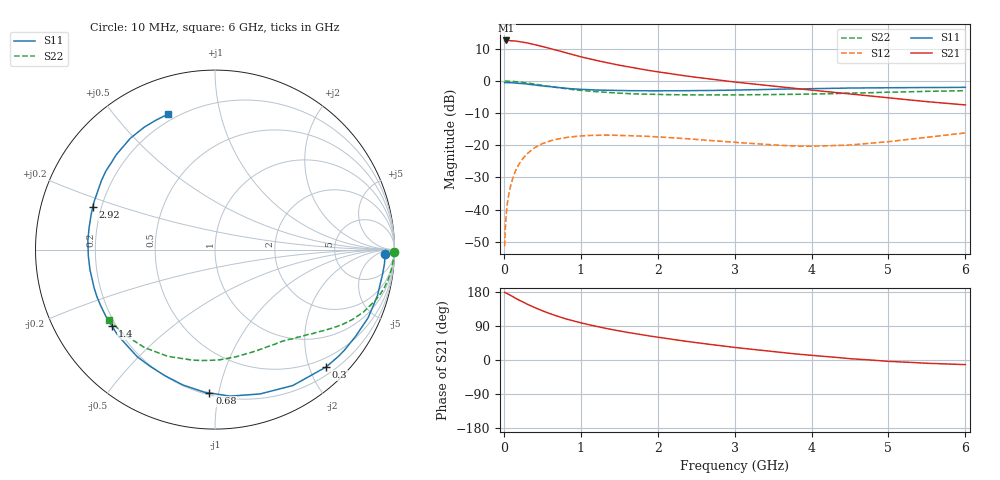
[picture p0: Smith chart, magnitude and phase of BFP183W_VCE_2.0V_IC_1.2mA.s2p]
! Infineon Technologies  Discrete & RF Semiconductors
! BFP183W
! VCE = 2.0 V,  IC =  1.2 mA
! Common Emitter S-Parameters:  Jan 2016
# GHz  S  MA  R  50
!  f  S11  S21  S12  S22
! GHz  MAG  ANG  MAG  ANG  MAG  ANG  MAG  ANG
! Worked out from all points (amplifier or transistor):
!   210 points, 10 MHz to 6 GHz, reference 50 ohm
!   highest |S21| = 12.6 dB at 30 MHz (marker M1)
!   |S21| within 3 dB of that: start of sweep to 682 MHz
!   unconditionally stable (mu >= 1): 2.607 GHz to end of sweep
!   at 185 MHz: K = 0.08, MSG = 19.4 dB, |S12| = -26.4 dB
!   at 1.52 GHz: K = 0.57, MSG = 10.9 dB, |S12| = -16.9 dB
!   at 6 GHz: K = 1.11, MAG = 2.4 dB, |S12| = -16.2 dB
!   S11 on the Smith chart (normalised r, x): 10 MHz: 29, -15; 300 MHz: 0.33, -2.28; 680 MHz: 0.21, -0.94; 1.4 GHz: 0.18, -0.32; 2.92 GHz: 0.17, +0.16; 6 GHz: 0.17, +0.70
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0.01  0.9472 -1.6  4.24 178.3  0.0027 88.3  0.9989 -0.7
0.02  0.9479 -3.3  4.277 178.0  0.0052 86.0  0.9953 -1.3
0.03  0.9471 -5.0  4.28 176.9  0.0081 88.9  0.9968 -1.9
0.065  0.9411 -10.6  4.256 173.0  0.0174 82.9  0.9933 -4.1
0.12  0.9358 -19.1  4.212 166.8  0.0317 77.9  0.9854 -7.6
0.2  0.9203 -31.8  4.118 157.8  0.0516 71.0  0.9678 -12.5
0.3  0.9004 -46.6  3.927 147.6  0.0735 62.2  0.9347 -17.9
0.4  0.8727 -60.2  3.698 138.4  0.0917 54.5  0.8972 -22.8
0.5  0.8424 -72.7  3.453 129.6  0.1062 47.6  0.8599 -26.9
0.68  0.7992 -92.2  3.034 116.7  0.1239 37.3  0.7975 -32.7
0.8  0.7753 -103.3  2.765 108.9  0.132 31.5  0.7607 -36.2
1.02  0.7418 -120.4  2.355 97.2  0.1403 23.0  0.7125 -41.3
1.2  0.7255 -132.6  2.095 88.8  0.1438 17.2  0.6839 -45.0
1.4  0.7152 -143.4  1.863 80.5  0.1441 12.4  0.6611 -48.7
1.6  0.7095 -153.8  1.68 73.0  0.1422 8.8  0.6407 -52.1
2.02  0.7056 -170.9  1.381 59.5  0.1348 3.1  0.6185 -59.8
2.4  0.71 176.0  1.186 48.5  0.1264 -0.2  0.6106 -67.1
2.92  0.7208 160.9  0.992 35.2  0.1134 -0.4  0.6073 -77.3
3.1  0.7261 156.2  0.938 31.0  0.1094 0.4  0.6088 -81.1
4.1  0.7646 134.4  0.704 10.6  0.0976 14.4  0.6304 -104.0
5.1  0.7883 118.9  0.534 -4.5  0.1178 29.9  0.6743 -127.9
6  0.7986 109.0  0.425 -12.2  0.1557 34.4  0.7092 -146.3
